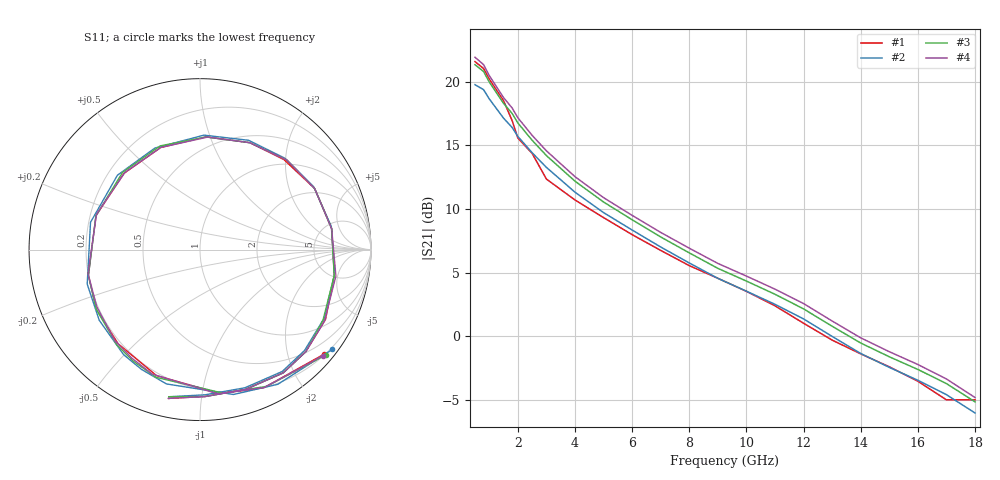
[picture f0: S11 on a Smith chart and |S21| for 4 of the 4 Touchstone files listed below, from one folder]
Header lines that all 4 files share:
!ATF-34143
# ghz s ma r 50
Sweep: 500 MHz to 18 GHz
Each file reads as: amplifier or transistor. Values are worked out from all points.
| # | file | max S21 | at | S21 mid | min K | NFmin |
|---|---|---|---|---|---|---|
| 1 | Vds4V_Id40mA.s2p | 21.6 dB | 500 MHz | 6.7 dB at 7 GHz | 0.15 | 0.10 dB |
| 2 | Vds=2V_Id=20mA.S2P | 19.8 dB | 500 MHz | 7.0 dB at 7 GHz | 0.10 | 0.10 dB |
| 3 | Vds=3V_Id=40mA.S2P | 21.3 dB | 500 MHz | 7.8 dB at 7 GHz | 0.13 | 0.10 dB |
| 4 | Vds=4V_Id=60mA.S2P | 21.9 dB | 500 MHz | 8.2 dB at 7 GHz | 0.16 | 0.11 dB |
